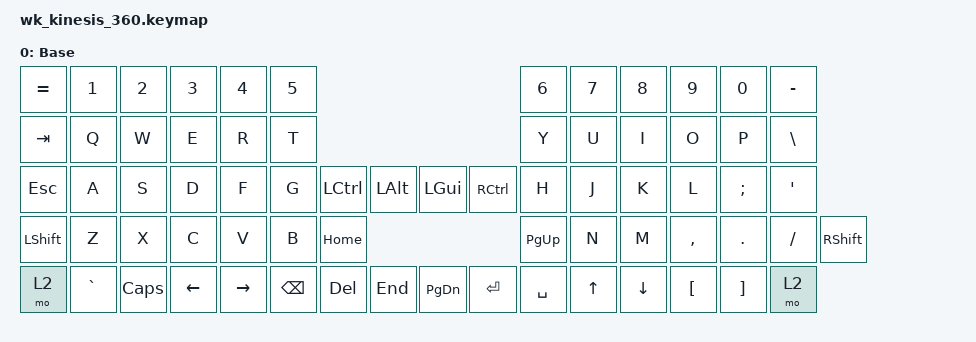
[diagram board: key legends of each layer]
#include <behaviors.dtsi>
#include <dt-bindings/zmk/keys.h>
#include <dt-bindings/zmk/bt.h>
#include <dt-bindings/zmk/rgb.h>
#include <dt-bindings/zmk/backlight.h>
#include <dt-bindings/zmk/pointing.h>
#include <dt-bindings/zmk/mouse.h>
#include <dt-bindings/zmk/outputs.h>
#include <dt-bindings/zmk/ext_power.h>

/ {
    behaviors {
      #include "version.dtsi"

      hm: homerow_mods {
          compatible = "zmk,behavior-hold-tap";
          label = "HOMEROW_MODS";
          #binding-cells = <2>;
          tapping-term-ms = <200>;
          quick_tap_ms = <175>;
          flavor = "tap-preferred";
          bindings = <&kp>, <&kp>;
      };
    };

  keymap {
    compatible = "zmk,keymap";

    default_layer {
      display-name = "Base";
      bindings = <
        &kp EQUAL   &kp N1    &kp N2     &kp N3    &kp N4      &kp N5                                                                &kp N6 &kp N7 &kp N8    &kp N9   &kp N0   &kp MINUS
        &kp TAB     &kp Q     &kp W      &kp E     &kp R       &kp T                                                                 &kp Y  &kp U  &kp I     &kp O    &kp P    &kp BSLH
        &kp ESC     &kp A     &kp S      &kp D     &kp F       &kp G                &kp LCTRL &kp LALT &kp LGUI  &kp RCTRL           &kp H  &kp J  &kp K     &kp L    &kp SEMI &kp SQT
        &kp LSHFT   &kp Z     &kp X      &kp C     &kp V       &kp B                            &kp HOME &kp PG_UP                           &kp N  &kp M  &kp COMMA &kp DOT  &kp FSLH &kp RSHFT
                    &mo 2     &kp GRAVE  &kp CAPS  &kp LEFT    &kp RIGHT                &kp BSPC &kp DEL   &kp END  &kp PG_DN &kp ENTER &kp SPACE              &kp UP &kp DOWN  &kp LBKT &kp RBKT &mo 2
      >;
    };
  };
};
